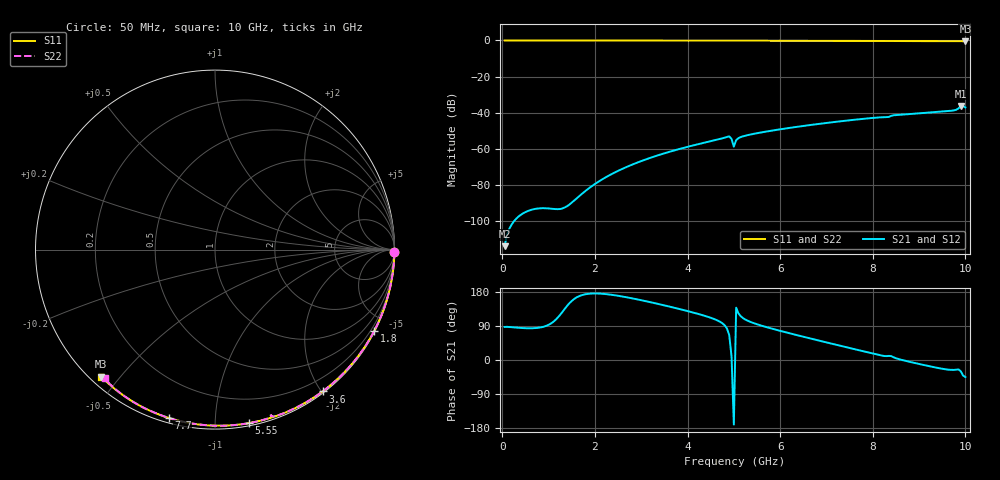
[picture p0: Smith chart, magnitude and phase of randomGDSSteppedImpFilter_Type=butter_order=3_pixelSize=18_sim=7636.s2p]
! freq	dB(S11)	phase(S11)	dB(S12)	phase(S12)
!  dB(S21)	phase(S21)	dB(S22)	phase(S22)
!S-par simulation data
#  GHz  S  DB  R 50
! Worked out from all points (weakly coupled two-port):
!   200 points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, 50 MHz to 10 GHz, reference 50 ohm
!   highest |S21| = -36.34 dB at 9.9 GHz (marker M1); lowest = -113.9 dB at 50 MHz (marker M2)
!   lowest |S11| = -0.4 dB at 10 GHz (marker M3), VSWR 39.22, Z = 1.53 - j22.3 ohm
!   |S11| at or under -10 dB: nowhere
!   |S22| runs from -0.7 to 0.0 dB; largest |S21 - S12| = 0
!   S11 on the Smith chart (normalised r, x): 50 MHz: open; 1.8 GHz: 0.04, -4.16; 3.6 GHz: 0.02, -2.01; 5.55 GHz: 0.02, -1.21; 7.7 GHz: 0.02, -0.76; 10 GHz: 0.03, -0.45
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0.05  -0.00 -0.8  -113.94 87.2  -113.94 87.2  -0.00 -0.8
0.9  -0.02 -13.6  -92.90 88.0  -92.90 88.0  -0.02 -13.6
1.75  -0.03 -26.3  -84.30 172.3  -84.30 172.3  -0.03 -26.3
1.8  -0.03 -27.0  -83.27 173.7  -83.27 173.7  -0.03 -27.0
2  -0.04 -30.0  -79.50 175.6  -79.50 175.6  -0.04 -29.9
2.6  -0.05 -38.7  -71.02 167.4  -71.02 167.4  -0.05 -38.6
3.4  -0.07 -50.1  -63.31 147.0  -63.31 147.0  -0.07 -50.0
3.6  -0.07 -52.8  -61.75 141.3  -61.75 141.3  -0.07 -52.8
4.9  -0.11 -70.5  -53.11 66.1  -53.11 66.1  -0.14 -70.8
4.95  -0.11 -71.2  -54.55 9.7  -54.55 9.7  -0.23 -71.5
5  -0.11 -71.8  -58.79 -170.4  -58.79 -170.4  -0.19 -71.2
5.05  -0.11 -72.4  -55.22 138.1  -55.22 138.1  -0.14 -72.0
5.2  -0.12 -74.4  -53.08 110.4  -53.08 110.4  -0.12 -74.1
5.55  -0.13 -78.9  -51.14 92.4  -51.14 92.4  -0.13 -78.7
6.7  -0.18 -93.4  -46.66 55.4  -46.66 55.4  -0.18 -93.2
7.7  -0.24 -105.4  -43.66 25.8  -43.66 25.8  -0.24 -105.2
8.35  -0.29 -113.0  -42.34 10.8  -42.34 10.8  -0.29 -112.8
8.45  -0.29 -114.2  -41.44 7.1  -41.44 7.1  -0.29 -114.0
9.75  -0.42 -129.1  -38.74 -26.2  -38.74 -26.2  -0.47 -129.3
9.85  -0.43 -130.2  -37.67 -24.8  -37.67 -24.8  -0.60 -130.5
9.9  -0.43 -130.7  -36.34 -29.7  -36.34 -29.7  -0.70 -130.2
10  -0.44 -131.9  -37.11 -45.1  -37.11 -45.1  -0.49 -130.6
